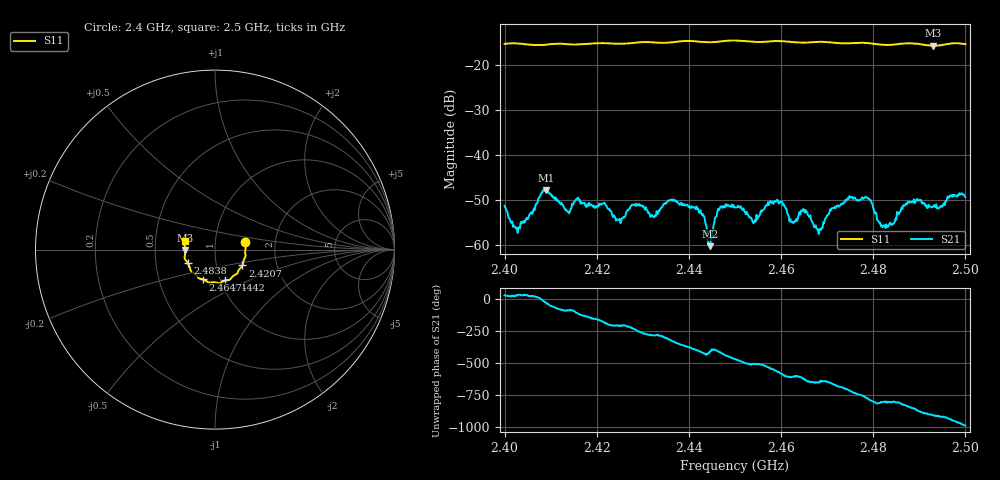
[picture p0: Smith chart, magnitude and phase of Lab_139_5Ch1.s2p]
# Hz S RI R 50
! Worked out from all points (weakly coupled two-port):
!   601 points, 2.4 GHz to 2.5 GHz, reference 50 ohm
!   highest |S21| = -47.73 dB at 2.409 GHz (marker M1); lowest = -60.3 dB at 2.4445 GHz (marker M2)
!   lowest |S11| = -15.6 dB at 2.493 GHz (marker M3), VSWR 1.40, Z = 35.8 - j0.32 ohm
!   |S11| at or under -10 dB: start of sweep to end of sweep
!   S12 and S22 are empty: the file has one direction only
!   S11 on the Smith chart (normalised r, x): 2.4 GHz: 1.40, +0.12; 2.4207 GHz: 1.34, -0.24; 2.4442 GHz: 1.06, -0.37; 2.4647 GHz: 0.83, -0.29; 2.4838 GHz: 0.73, -0.11; 2.5 GHz: 0.71, +0.07
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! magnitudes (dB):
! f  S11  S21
! 2.4 GHz  -15.2  -51.3
! 2.4028 GHz  -15.1  -57.3
! 2.409 GHz  -15.4  -47.7
! 2.4137 GHz  -15.3  -52.6
! 2.4167 GHz  -15.3  -50.5
! 2.4207 GHz  -15.1  -51.1
! 2.4247 GHz  -15.2  -54.4
! 2.4333 GHz  -15.0  -52.9
! 2.4415 GHz  -14.6  -52.1
! 2.4442 GHz  -14.8  -59.8
! 2.4445 GHz  -14.8  -60.3
! 2.4467 GHz  -14.7  -51.9
! 2.45 GHz  -14.5  -51.6
! 2.454 GHz  -14.8  -55.1
! 2.4647 GHz  -14.9  -52.5
! 2.4667 GHz  -14.8  -54.7
! 2.4782 GHz  -15.0  -49.4
! 2.4833 GHz  -15.4  -55.8
! 2.4838 GHz  -15.4  -55.4
! 2.4877 GHz  -15.1  -50.3
! 2.493 GHz  -15.6  -51.5
! 2.5 GHz  -15.3  -49.4
